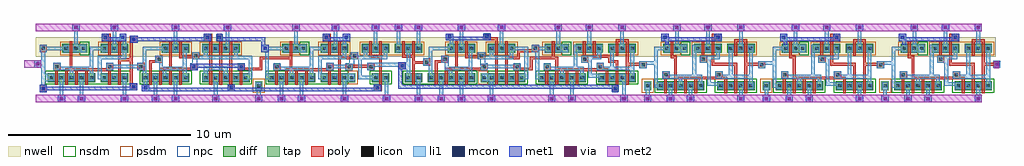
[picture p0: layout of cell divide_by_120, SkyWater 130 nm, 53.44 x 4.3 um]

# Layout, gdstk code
import gdstk
lib = gdstk.Library(unit=1e-6, precision=1e-09)
def R(c, l, rs):  # rectangles x0, y0, x1, y1
    for r in rs: c.add(gdstk.rectangle(r[:2], r[2:], *l))
def A(c, l, x, y, w, h, nx, ny, dx, dy):  # array of equal rectangles
    R(c, l, [(x+i*dx, y+j*dy, x+i*dx+w, y+j*dy+h) for i in range(nx) for j in range(ny)])
nwell = (64, 20)
diff = (65, 20)
tap = (65, 44)
poly = (66, 20)
licon = (66, 44)
li1 = (67, 20)
mcon = (67, 44)
met1 = (68, 20)
via = (68, 44)
met2 = (69, 20)
nsdm = (93, 44)
psdm = (94, 20)
npc = (95, 20)

divide_by_120 = lib.new_cell('divide_by_120')
R(divide_by_120, nwell, [(211.3,16.95,263.85,18)])
A(divide_by_120, diff, 245.3, 15.1, 2.6, 0.5, 3, 1, 6.5, 0)
A(divide_by_120, diff, 248.6, 15.1, 2.05, 0.5, 3, 1, 6.5, 0)
A(divide_by_120, diff, 239.15, 17.15, 0.95, 0.5, 4, 1, 6.5, 0)
R(divide_by_120, diff, [(211.95,15.55,214.55,16.05), (214.85,15.55,216.35,16.05), (217.1,15.55,219.7,16.05), (220.4,15.55,223,16.05), (224,15.55,226.6,16.05), (226.9,15.55,228.4,16.05), (229.7,15.55,230.65,16.05), (231.5,15.55,232.45,16.05), (232.75,15.55,235.35,16.05), (236.05,15.55,238.1,16.05), (238.8,15.55,241.4,16.05), (242.1,15.55,244.15,16.05), (212.75,17.15,213.7,17.65), (214.85,17.15,216.35,17.65), (218.2,17.15,219.7,17.65), (220.4,17.15,222.45,17.65), (224.8,17.15,225.75,17.65), (226.9,17.15,228.4,17.65), (229.15,17.15,230.65,17.65), (230.95,17.15,232.45,17.65), (233.85,17.15,235.35,17.65), (236.05,17.15,237.55,17.65), (240.85,17.15,242.35,17.65), (242.65,17.15,244.15,17.65), (247.35,17.15,248.85,17.65), (249.15,17.15,250.65,17.65), (253.85,17.15,255.35,17.65), (255.65,17.15,257.15,17.65), (260.35,17.15,261.85,17.65), (262.15,17.15,263.65,17.65)])
A(divide_by_120, tap, 244.6, 15.1, 0.4, 0.5, 3, 1, 6.5, 0)
A(divide_by_120, tap, 240.1, 17.15, 0.4, 0.5, 4, 1, 6.5, 0)
R(divide_by_120, tap, [(223.3,15.1,223.7,15.6), (228.4,15.55,228.8,16.05), (235.65,15.55,236.05,16.05), (213.7,17.15,214.1,17.65), (225.75,17.15,226.15,17.65)])
A(divide_by_120, poly, 245.7, 14.95, 0.15, 0.8, 3, 1, 6.5, 0)
A(divide_by_120, poly, 246.25, 14.95, 0.15, 0.75, 3, 1, 0.55, 0)
A(divide_by_120, poly, 252.75, 14.95, 0.15, 0.75, 3, 1, 0.55, 0)
A(divide_by_120, poly, 259.25, 14.95, 0.15, 0.75, 3, 1, 0.55, 0)
A(divide_by_120, poly, 212.9, 15.4, 0.15, 0.75, 3, 1, 0.55, 0)
A(divide_by_120, poly, 218.05, 15.4, 0.15, 0.8, 3, 1, 0.55, 0)
A(divide_by_120, poly, 220.8, 15.4, 0.15, 2.4, 3, 1, 0.55, 0)
A(divide_by_120, poly, 224.95, 15.4, 0.15, 0.75, 3, 1, 0.55, 0)
A(divide_by_120, poly, 233.7, 15.4, 0.15, 0.8, 3, 1, 0.55, 0)
A(divide_by_120, poly, 239.75, 15.4, 0.15, 0.75, 3, 1, 0.55, 0)
A(divide_by_120, poly, 246.25, 15.7, 2.9, 0.15, 3, 1, 6.5, 0)
A(divide_by_120, poly, 245.6, 15.75, 0.4, 0.4, 3, 1, 6.5, 0)
A(divide_by_120, poly, 246.25, 15.85, 0.15, 1, 3, 1, 6.5, 0)
A(divide_by_120, poly, 248.5, 15.85, 0.4, 0.3, 3, 1, 6.5, 0)
A(divide_by_120, poly, 244.35, 16.3, 0.4, 0.15, 3, 1, 6.5, 0)
A(divide_by_120, poly, 243.6, 16.45, 1.15, 0.15, 3, 1, 6.5, 0)
A(divide_by_120, poly, 248.3, 16.45, 1.4, 0.15, 3, 1, 6.5, 0)
A(divide_by_120, poly, 241.15, 16.6, 0.4, 0.4, 4, 1, 6.5, 0)
A(divide_by_120, poly, 243.6, 16.6, 0.15, 1.15, 4, 1, 6.5, 0)
A(divide_by_120, poly, 244.35, 16.6, 0.4, 0.1, 3, 1, 6.5, 0)
A(divide_by_120, poly, 248.3, 16.6, 0.15, 1.2, 3, 1, 6.5, 0)
A(divide_by_120, poly, 246.05, 16.85, 0.35, 0.15, 3, 1, 6.5, 0)
A(divide_by_120, poly, 243.05, 17, 0.15, 0.75, 4, 1, 6.5, 0)
A(divide_by_120, poly, 243.05, 17.75, 0.7, 0.15, 4, 1, 6.5, 0)
A(divide_by_120, poly, 248.3, 17.8, 0.55, 0.4, 3, 1, 6.5, 0)
R(divide_by_120, poly, [(249,14.95,249.15,15.7), (249.55,14.95,249.7,16.45), (250.1,14.95,250.25,16.45), (255.5,14.95,255.65,15.7), (256.05,14.95,256.2,16.45), (256.6,14.95,256.75,16.45), (262,14.95,262.15,15.7), (262.55,14.95,262.7,16.45), (263.1,14.95,263.25,16.45), (211.5,15,211.9,15.4), (242.87,15,243.2,15.4), (221.8,15.05,222.2,15.4), (229.8,15.05,230.25,15.4), (216.45,15.1,216.85,15.5), (212.35,15.4,212.5,16.2), (215.25,15.4,215.4,16.15), (215.8,15.4,215.95,16.7), (217.5,15.4,217.65,16.6), (222.45,15.4,222.6,16.2), (224.4,15.4,224.55,16.2), (227.3,15.4,227.45,16.15), (227.85,15.4,228,16.8), (230.1,15.4,230.25,16.9), (231.9,15.4,232.05,16.55), (233.15,15.4,233.3,16.6), (236.45,15.4,236.6,17.85), (237,15.4,237.15,16.8), (237.55,15.4,237.7,16.2), (239.2,15.4,239.35,16.2), (242.5,15.4,242.65,16.15), (243.05,15.4,243.2,16.6), (243.6,15.4,243.75,16.45), (216.45,15.5,216.6,16.7), (212.9,16.15,215.4,16.2), (224.95,16.15,227.45,16.2), (239.75,16.15,242.65,16.3), (212.25,16.2,212.65,16.6), (212.9,16.2,215.55,16.3), (216.85,16.2,217.25,16.6), (218.05,16.2,220.15,16.35), (222.35,16.2,223.7,16.35), (224.3,16.2,224.7,16.55), (224.95,16.2,227.6,16.3), (228.25,16.2,228.65,16.35), (229.45,16.2,229.85,16.35), (233.7,16.2,236.05,16.35), (237.45,16.2,238.5,16.35), (239.1,16.2,239.5,16.55), (231.15,16.25,231.55,16.65), (213.15,16.3,213.3,17.8), (215.15,16.3,215.55,16.6), (225.2,16.3,225.35,16.8), (227.2,16.3,227.6,16.6), (239.75,16.3,239.9,16.8), (242,16.3,242.4,16.6), (263.76,16.3,264.05,16.45), (218.6,16.35,218.75,17.8), (219.75,16.35,220.15,16.55), (222.35,16.35,222.75,16.55), (223.55,16.35,223.7,16.8), (228.25,16.35,229.85,16.5), (234.25,16.35,234.4,17.8), (235.65,16.35,236.05,16.55), (237.45,16.35,237.85,16.55), (238.35,16.35,238.5,16.8), (232.5,16.45,232.9,16.55), (263.1,16.45,264.05,16.6), (228.25,16.5,228.65,16.55), (229.45,16.5,229.85,16.6), (231.9,16.55,232.9,16.7), (217.5,16.6,218.25,16.75), (233.15,16.6,233.9,16.75), (242.65,16.6,243.2,16.75), (263.76,16.6,264.05,16.7), (215.8,16.7,216.6,16.85), (231.9,16.7,232.05,16.9), (232.5,16.7,232.9,16.85), (217.85,16.75,218.25,17), (233.5,16.75,233.9,17), (242.65,16.75,242.8,16.9), (219.85,16.8,220.25,16.85), (223.55,16.8,225.35,16.95), (227.85,16.8,228.95,16.95), (235.5,16.8,235.9,16.85), (237,16.8,237.8,16.95), (238.35,16.8,239.9,16.95), (215.8,16.85,215.95,17.8), (216.45,16.85,216.6,17.7), (219.15,16.85,220.25,17), (234.8,16.85,235.9,17), (229.55,16.9,230.25,17.05), (231.35,16.9,232.05,17.05), (241.8,16.9,242.8,17.05), (225.2,16.95,225.35,17.8), (227.85,16.95,228,17.8), (228.55,16.95,228.95,17.2), (237,16.95,237.15,17.8), (237.65,16.95,237.8,17.2), (239.55,16.95,239.7,17.8), (215.25,17,215.4,17.8), (219.15,17,219.3,17.8), (219.85,17,220.25,17.2), (227.3,17,227.45,17.8), (234.8,17,234.95,17.8), (235.5,17,235.9,17.2), (241.25,17,241.4,17.8), (246.05,17,246.2,17.8), (247.75,17,247.9,17.8), (252.55,17,252.7,17.8), (254.25,17,254.4,17.8), (259.05,17,259.2,17.8), (260.75,17,260.9,17.8), (229.55,17.05,229.7,17.8), (230.1,17.05,230.25,17.8), (231.35,17.05,231.5,17.8), (231.9,17.05,232.05,17.8), (241.8,17.05,241.95,17.8), (211.5,17.2,211.9,17.6), (237.65,17.2,238.85,17.35), (238.45,17.35,238.85,17.6), (216.45,17.7,216.87,18.1), (214.9,17.8,215.4,18.2), (220.5,17.8,220.95,18.2), (221.2,17.8,221.5,18.2), (227,17.8,227.45,18.2), (235.8,17.85,236.6,18), (235.8,18,236.2,18.2)])
A(divide_by_120, licon, 245.415, 15.265, 0.17, 0.17, 5, 1, 0.55, 0)
A(divide_by_120, licon, 248.715, 15.265, 0.17, 0.17, 4, 1, 0.55, 0)
A(divide_by_120, licon, 251.915, 15.265, 0.17, 0.17, 5, 1, 0.55, 0)
A(divide_by_120, licon, 255.215, 15.265, 0.17, 0.17, 4, 1, 0.55, 0)
A(divide_by_120, licon, 258.415, 15.265, 0.17, 0.17, 5, 1, 0.55, 0)
A(divide_by_120, licon, 261.715, 15.265, 0.17, 0.17, 4, 1, 0.55, 0)
A(divide_by_120, licon, 212.065, 15.715, 0.17, 0.17, 5, 1, 0.55, 0)
A(divide_by_120, licon, 214.965, 15.715, 0.17, 0.17, 3, 2, 0.55, 1.6)
A(divide_by_120, licon, 217.215, 15.715, 0.17, 0.17, 5, 1, 0.55, 0)
A(divide_by_120, licon, 220.515, 15.715, 0.17, 0.17, 5, 1, 0.55, 0)
A(divide_by_120, licon, 224.115, 15.715, 0.17, 0.17, 5, 1, 0.55, 0)
A(divide_by_120, licon, 227.015, 15.715, 0.17, 0.17, 3, 2, 0.55, 1.6)
A(divide_by_120, licon, 232.865, 15.715, 0.17, 0.17, 5, 1, 0.55, 0)
A(divide_by_120, licon, 236.165, 15.715, 0.17, 0.17, 4, 1, 0.55, 0)
A(divide_by_120, licon, 238.915, 15.715, 0.17, 0.17, 5, 1, 0.55, 0)
A(divide_by_120, licon, 242.215, 15.715, 0.17, 0.17, 4, 1, 0.55, 0)
A(divide_by_120, licon, 244.465, 16.415, 0.17, 0.17, 3, 1, 6.5, 0)
A(divide_by_120, licon, 241.265, 16.715, 0.17, 0.17, 4, 1, 6.5, 0)
A(divide_by_120, licon, 218.315, 17.315, 0.17, 0.17, 3, 1, 0.55, 0)
A(divide_by_120, licon, 220.515, 17.315, 0.17, 0.17, 4, 1, 0.55, 0)
A(divide_by_120, licon, 229.265, 17.315, 0.17, 0.17, 3, 1, 0.55, 0)
A(divide_by_120, licon, 231.065, 17.315, 0.17, 0.17, 3, 1, 0.55, 0)
A(divide_by_120, licon, 233.965, 17.315, 0.17, 0.17, 3, 1, 0.55, 0)
A(divide_by_120, licon, 236.165, 17.315, 0.17, 0.17, 3, 1, 0.55, 0)
A(divide_by_120, licon, 240.965, 17.315, 0.17, 0.17, 3, 1, 0.55, 0)
A(divide_by_120, licon, 242.765, 17.315, 0.17, 0.17, 3, 1, 0.55, 0)
A(divide_by_120, licon, 247.465, 17.315, 0.17, 0.17, 3, 1, 0.55, 0)
A(divide_by_120, licon, 249.265, 17.315, 0.17, 0.17, 3, 1, 0.55, 0)
A(divide_by_120, licon, 253.965, 17.315, 0.17, 0.17, 3, 1, 0.55, 0)
A(divide_by_120, licon, 255.765, 17.315, 0.17, 0.17, 3, 1, 0.55, 0)
A(divide_by_120, licon, 260.465, 17.315, 0.17, 0.17, 3, 1, 0.55, 0)
A(divide_by_120, licon, 262.265, 17.315, 0.17, 0.17, 3, 1, 0.55, 0)
A(divide_by_120, licon, 248.565, 17.915, 0.17, 0.17, 3, 1, 6.5, 0)
R(divide_by_120, licon, [(211.615,15.115,211.785,15.285), (242.935,15.115,243.105,15.285), (221.915,15.165,222.085,15.335), (229.915,15.165,230.085,15.335), (216.565,15.215,216.735,15.385), (223.415,15.265,223.585,15.435), (244.715,15.265,244.885,15.435), (251.215,15.265,251.385,15.435), (257.715,15.265,257.885,15.435), (228.515,15.715,228.685,15.885), (229.815,15.715,229.985,15.885), (230.365,15.715,230.535,15.885), (231.615,15.715,231.785,15.885), (232.165,15.715,232.335,15.885), (235.765,15.715,235.935,15.885), (245.715,15.865,245.885,16.035), (248.615,15.865,248.785,16.035), (252.215,15.865,252.385,16.035), (255.115,15.865,255.285,16.035), (258.715,15.865,258.885,16.035), (261.615,15.865,261.785,16.035), (212.365,16.315,212.535,16.485), (215.265,16.315,215.435,16.485), (216.965,16.315,217.135,16.485), (219.865,16.315,220.035,16.485), (222.465,16.315,222.635,16.485), (224.415,16.315,224.585,16.485), (227.315,16.315,227.485,16.485), (228.365,16.315,228.535,16.485), (229.565,16.315,229.735,16.485), (235.765,16.315,235.935,16.485), (237.565,16.315,237.735,16.485), (239.215,16.315,239.385,16.485), (242.115,16.315,242.285,16.485), (231.265,16.365,231.435,16.535), (263.82,16.44,263.99,16.61), (232.615,16.565,232.785,16.735), (217.965,16.715,218.135,16.885), (233.615,16.715,233.785,16.885), (219.965,16.915,220.135,17.085), (228.665,16.915,228.835,17.085), (235.615,16.915,235.785,17.085), (211.615,17.315,211.785,17.485), (212.865,17.315,213.035,17.485), (213.415,17.315,213.585,17.485), (213.815,17.315,213.985,17.485), (224.915,17.315,225.085,17.485), (225.465,17.315,225.635,17.485), (225.865,17.315,226.035,17.485), (238.565,17.315,238.735,17.485), (239.265,17.315,239.435,17.485), (239.815,17.315,239.985,17.485), (240.215,17.315,240.385,17.485), (245.765,17.315,245.935,17.485), (246.315,17.315,246.485,17.485), (246.715,17.315,246.885,17.485), (252.265,17.315,252.435,17.485), (252.815,17.315,252.985,17.485), (253.215,17.315,253.385,17.485), (258.765,17.315,258.935,17.485), (259.315,17.315,259.485,17.485), (259.715,17.315,259.885,17.485), (216.585,17.815,216.755,17.985), (215.015,17.915,215.185,18.085), (220.615,17.915,220.785,18.085), (221.265,17.915,221.435,18.085), (227.115,17.915,227.285,18.085), (235.915,17.965,236.085,18.135)])
A(divide_by_120, li1, 245.35, 15.15, 0.3, 0.1, 3, 1, 6.5, 0)
A(divide_by_120, li1, 245.9, 15.15, 0.3, 0.4, 4, 1, 0.55, 0)
A(divide_by_120, li1, 248.65, 15.15, 0.3, 0.2, 3, 1, 6.5, 0)
A(divide_by_120, li1, 249.2, 15.15, 0.3, 0.4, 3, 2, 0.55, 2.05)
A(divide_by_120, li1, 252.4, 15.15, 0.3, 0.4, 4, 1, 0.55, 0)
A(divide_by_120, li1, 255.7, 15.15, 0.3, 0.4, 3, 2, 0.55, 2.05)
A(divide_by_120, li1, 258.9, 15.15, 0.3, 0.4, 4, 1, 0.55, 0)
A(divide_by_120, li1, 262.2, 15.15, 0.3, 0.4, 3, 2, 0.55, 2.05)
A(divide_by_120, li1, 245.15, 15.25, 0.5, 0.3, 3, 1, 6.5, 0)
A(divide_by_120, li1, 248.05, 15.35, 0.9, 0.2, 3, 1, 6.5, 0)
A(divide_by_120, li1, 245.15, 15.55, 0.2, 0.95, 3, 1, 6.5, 0)
A(divide_by_120, li1, 248.05, 15.55, 0.2, 1.05, 3, 1, 6.5, 0)
A(divide_by_120, li1, 212.55, 15.6, 0.3, 0.4, 4, 1, 0.55, 0)
A(divide_by_120, li1, 217.15, 15.6, 0.3, 0.4, 5, 1, 0.55, 0)
A(divide_by_120, li1, 220.45, 15.6, 0.3, 0.4, 4, 1, 0.55, 0)
A(divide_by_120, li1, 224.6, 15.6, 0.3, 0.4, 4, 1, 0.55, 0)
A(divide_by_120, li1, 232.8, 15.6, 0.3, 0.4, 5, 1, 0.55, 0)
A(divide_by_120, li1, 239.4, 15.6, 0.3, 0.4, 4, 1, 0.55, 0)
A(divide_by_120, li1, 245.6, 15.75, 2.2, 0.2, 3, 1, 6.5, 0)
A(divide_by_120, li1, 248.5, 15.75, 2.05, 0.2, 3, 1, 6.5, 0)
A(divide_by_120, li1, 217.15, 16, 0.2, 0.2, 3, 1, 1.1, 0)
A(divide_by_120, li1, 244.35, 16.3, 0.4, 0.2, 3, 1, 6.5, 0)
A(divide_by_120, li1, 244.35, 16.5, 1, 0.2, 3, 1, 6.5, 0)
A(divide_by_120, li1, 241.15, 16.6, 0.6, 0.2, 4, 1, 6.5, 0)
A(divide_by_120, li1, 245.15, 16.7, 0.2, 0.6, 3, 1, 6.5, 0)
A(divide_by_120, li1, 241.15, 16.8, 1.1, 0.2, 4, 1, 6.5, 0)
A(divide_by_120, li1, 242.05, 17, 0.2, 0.2, 4, 1, 6.5, 0)
A(divide_by_120, li1, 229.2, 17.2, 0.3, 0.4, 3, 1, 0.55, 0)
A(divide_by_120, li1, 231, 17.2, 0.3, 0.4, 3, 1, 0.55, 0)
A(divide_by_120, li1, 239.2, 17.2, 0.3, 0.1, 4, 2, 6.5, 0.3)
A(divide_by_120, li1, 239.75, 17.2, 0.7, 0.4, 4, 1, 6.5, 0)
A(divide_by_120, li1, 240.75, 17.2, 0.45, 0.4, 4, 1, 6.5, 0)
A(divide_by_120, li1, 242.7, 17.2, 0.3, 0.4, 3, 1, 0.55, 0)
A(divide_by_120, li1, 245.15, 17.3, 0.85, 0.2, 3, 1, 6.5, 0)
A(divide_by_120, li1, 245.75, 17.6, 0.2, 0.2, 3, 1, 6.5, 0)
R(divide_by_120, li1, [(212.5,14.45,212.9,14.85), (213.6,14.45,214,14.85), (215.95,14.45,216.35,14.85), (217.65,14.45,218.05,14.85), (218.75,14.45,219.15,14.85), (220.95,14.45,221.35,14.85), (223.3,14.45,223.7,14.85), (224.55,14.45,224.95,14.85), (225.65,14.45,226.05,14.85), (228,14.45,228.4,14.85), (230.3,14.45,230.7,14.85), (232.05,14.45,232.45,14.85), (233.3,14.45,233.7,14.85), (234.4,14.45,234.8,14.85), (236.05,14.45,236.45,14.85), (239.35,14.45,239.75,14.85), (240.45,14.45,240.85,14.85), (243.3,14.45,243.7,14.85), (244.6,14.45,245,14.85), (245.85,14.45,246.25,14.85), (246.95,14.45,247.35,14.85), (249.7,14.45,250.1,14.85), (251.1,14.45,251.5,14.85), (252.35,14.45,252.75,14.85), (253.45,14.45,253.85,14.85), (256.2,14.45,256.6,14.85), (257.6,14.45,258,14.85), (258.85,14.45,259.25,14.85), (259.95,14.45,260.35,14.85), (262.7,14.45,263.1,14.85), (212.6,14.85,212.8,15.6), (213.7,14.85,213.9,15.6), (216.05,14.85,216.25,15.6), (217.75,14.85,217.95,15.6), (218.85,14.85,219.05,15.6), (221.05,14.85,221.25,15.6), (223.4,14.85,223.6,15.15), (224.65,14.85,224.85,15.6), (225.75,14.85,225.95,15.6), (228.1,14.85,228.3,15.6), (230.4,14.85,230.6,15.6), (232.15,14.85,232.35,15.6), (233.4,14.85,233.6,15.6), (234.5,14.85,234.7,15.6), (236.15,14.85,236.35,15.6), (239.45,14.85,239.65,15.6), (240.55,14.85,240.75,15.6), (243.4,14.85,243.6,15.6), (244.7,14.85,244.9,15.15), (245.95,14.85,246.15,15.15), (247.05,14.85,247.25,15.15), (249.8,14.85,250,15.15), (251.2,14.85,251.4,15.15), (252.45,14.85,252.65,15.15), (253.55,14.85,253.75,15.15), (256.3,14.85,256.5,15.15), (257.7,14.85,257.9,15.15), (258.95,14.85,259.15,15.15), (260.05,14.85,260.25,15.15), (262.8,14.85,263,15.15), (211.5,15,211.9,15.4), (242.87,15,243.2,15.4), (217.1,15.05,217.5,15.4), (221.8,15.05,222.2,15.4), (229.8,15.05,230.2,15.4), (216.45,15.1,216.85,15.5), (223.35,15.15,223.65,15.55), (244.65,15.15,244.95,15.55), (251.15,15.15,251.45,15.55), (257.65,15.15,257.95,15.55), (211.6,15.4,211.8,15.6), (217.2,15.4,217.4,15.6), (246.5,15.55,246.7,15.75), (247.6,15.55,247.8,15.75), (250.35,15.55,250.55,15.75), (253,15.55,253.2,15.75), (254.1,15.55,254.3,15.75), (256.85,15.55,257.05,15.75), (259.5,15.55,259.7,15.75), (260.6,15.55,260.8,15.75), (263.35,15.55,263.55,15.75), (211.6,15.6,212.3,16), (214.9,15.6,215.2,15.7), (215.45,15.6,215.75,16), (216,15.6,216.3,16), (222.65,15.6,222.95,15.7), (224.05,15.6,224.35,15.7), (226.95,15.6,227.25,15.7), (227.5,15.6,227.8,16), (228.05,15.6,228.75,16), (229.75,15.6,230.05,15.7), (230.3,15.6,230.6,16), (231.55,15.6,231.85,16), (232.1,15.6,232.4,16), (235.7,15.6,236.4,16), (236.65,15.6,236.95,16), (237.2,15.6,237.5,16), (237.75,15.6,238.05,15.7), (238.85,15.6,239.15,15.7), (242.15,15.6,242.45,15.8), (242.7,15.6,243,16), (243.25,15.6,243.6,16), (243.8,15.6,244.1,16), (214.7,15.7,215.2,16), (222.65,15.7,223.15,16), (223.85,15.7,224.35,16), (226.75,15.7,227.25,16), (228.95,15.7,230.05,15.9), (237.75,15.7,238.25,16), (238.65,15.7,239.15,16), (241.55,15.8,242.45,16), (228.95,15.9,229.15,16.8), (229.75,15.9,230.05,16), (245.6,15.95,246,16.15), (247.25,15.95,247.45,17.2), (248.5,15.95,248.9,16.15), (249.25,15.95,249.45,17.2), (250.35,15.95,250.55,17.2), (252.1,15.95,252.5,16.15), (253.75,15.95,253.95,17.2), (255,15.95,255.4,16.15), (255.75,15.95,255.95,17.2), (256.85,15.95,257.05,17.2), (258.6,15.95,259,16.15), (260.25,15.95,260.45,17.2), (261.5,15.95,261.9,16.15), (262.25,15.95,262.45,17.2), (263.35,15.95,263.55,17.2), (211.6,16,211.8,16.35), (213.15,16,213.35,16.2), (214.25,16,214.45,16.2), (214.7,16,214.9,16.8), (220.5,16,220.7,16.2), (221.6,16,221.8,16.2), (222.95,16,223.15,16.8), (223.85,16,224.05,17.2), (225.2,16,225.4,16.2), (226.3,16,226.5,16.2), (226.75,16,226.95,16.8), (231.6,16,231.8,16.25), (232.8,16,233,16.45), (233.9,16,234.1,16.2), (235,16,235.2,16.2), (238.05,16,238.25,17.3), (238.65,16,238.85,17.2), (240,16,240.2,16.2), (241.1,16,241.3,16.2), (241.55,16,241.75,16.6), (243.85,16,244.05,16.2), (212.25,16.2,214.45,16.4), (215.15,16.2,215.55,16.3), (216.85,16.2,217.35,16.3), (218.05,16.2,219.55,16.4), (219.75,16.2,220.15,16.55), (220.5,16.2,221.8,16.4), (222.35,16.2,222.75,16.55), (224.3,16.2,226.5,16.4), (227.2,16.2,227.6,16.3), (228.25,16.2,228.65,16.3), (229.45,16.2,229.85,16.4), (233.7,16.2,235.2,16.4), (235.65,16.2,236.05,16.3), (237.45,16.2,237.85,16.3), (239.1,16.2,241.3,16.4), (242,16.2,244.05,16.4), (231.15,16.25,231.8,16.4), (215.15,16.3,217.35,16.5), (227.2,16.3,228.65,16.5), (235.65,16.3,237.85,16.5), (263.76,16.3,264.05,16.7), (211.2,16.35,211.8,16.75), (212.25,16.4,212.65,16.6), (214.25,16.4,214.45,17.3), (218.05,16.4,218.25,16.6), (219.35,16.4,219.55,17.2), (224.3,16.4,224.7,16.55), (226.3,16.4,226.5,17.3), (229.45,16.4,231.8,16.6), (233.7,16.4,233.9,16.6), (235,16.4,235.2,17.2), (239.1,16.4,239.5,16.55), (240.75,16.4,240.95,17.2), (242,16.4,242.4,16.6), (242.75,16.4,242.95,17.2), (243.85,16.4,244.05,17.2), (232.5,16.45,233,16.85), (215.15,16.5,215.55,16.6), (216.85,16.5,217.35,16.6), (227.2,16.5,227.6,16.6), (228.25,16.5,228.65,16.55), (235.65,16.5,236.05,16.55), (237.45,16.5,237.85,16.55), (217.15,16.6,217.35,17.3), (217.85,16.6,218.25,17), (231.15,16.6,231.8,16.65), (233.5,16.6,233.9,17), (231.6,16.65,231.8,17.2), (211.6,16.75,211.8,17.2), (214.7,16.8,216.25,17), (219.85,16.8,223.15,17), (226.75,16.8,228.3,17), (228.55,16.8,230.55,17), (235.5,16.8,237.45,17), (232.8,16.85,233,17.3), (216.05,17,216.25,17.2), (219.85,17,220.25,17.2), (220.5,17,220.7,17.2), (222.15,17,222.35,17.2), (228.1,17,228.3,17.2), (228.55,17,228.95,17.2), (229.25,17,229.45,17.2), (230.35,17,230.55,17.2), (235.5,17,235.9,17.2), (236.15,17,236.35,17.2), (237.25,17,237.45,17.2), (211.5,17.2,211.9,17.3), (212.8,17.2,213.1,17.3), (213.35,17.2,214.05,17.6), (214.9,17.2,215.2,17.3), (215.45,17.2,215.75,17.6), (216,17.2,216.3,17.6), (218.25,17.2,218.55,17.3), (218.8,17.2,219.1,17.6), (219.35,17.2,219.65,17.6), (220.45,17.2,220.75,17.6), (221,17.2,221.3,17.6), (221.55,17.2,221.9,17.6), (222.1,17.2,222.4,17.6), (223.65,17.2,224.05,17.3), (224.85,17.2,225.15,17.3), (225.4,17.2,226.1,17.6), (226.95,17.2,227.25,17.3), (227.5,17.2,227.8,17.6), (228.05,17.2,228.35,17.6), (233.9,17.2,234.2,17.3), (234.45,17.2,234.75,17.6), (235,17.2,235.3,17.6), (236.1,17.2,236.4,17.6), (236.65,17.2,236.95,17.6), (237.2,17.2,237.5,17.3), (238.45,17.2,238.85,17.3), (241.45,17.2,241.75,17.6), (242,17.2,242.3,17.6), (247.95,17.2,248.25,17.6), (248.5,17.2,248.8,17.6), (254.45,17.2,254.75,17.6), (255,17.2,255.3,17.6), (260.95,17.2,261.25,17.6), (261.5,17.2,261.8,17.6), (211.5,17.3,213.1,17.5), (214.25,17.3,215.2,17.5), (217.15,17.3,218.55,17.5), (223.65,17.3,225.15,17.5), (226.3,17.3,227.25,17.5), (232.8,17.3,234.2,17.5), (237.2,17.3,238.25,17.5), (238.45,17.3,239.5,17.5), (211.5,17.5,211.9,17.6), (212.8,17.5,213.1,17.6), (214.9,17.5,215.2,17.6), (218.25,17.5,218.55,17.6), (223.65,17.5,224.05,17.6), (224.85,17.5,225.15,17.6), (226.95,17.5,227.25,17.6), (233.9,17.5,234.2,17.6), (237.2,17.5,237.5,17.6), (238.45,17.5,238.85,17.6), (213.4,17.6,213.6,18.35), (215.5,17.6,215.7,18.35), (216.05,17.6,216.25,17.8), (218.85,17.6,219.05,18.35), (221.7,17.6,221.9,18.35), (225.45,17.6,225.65,18.35), (227.6,17.6,227.8,18.35), (228.1,17.6,228.3,17.8), (229.8,17.6,230,18.35), (231.05,17.6,231.25,18.35), (232.15,17.6,232.35,18.35), (233.95,17.6,234.15,17.85), (234.5,17.6,234.7,18.35), (236.7,17.6,236.9,18.35), (239.8,17.6,240,18.35), (241.5,17.6,241.7,18.35), (243.3,17.6,243.5,18.35), (246.3,17.6,246.5,18.35), (248,17.6,248.2,18.35), (249.8,17.6,250,18.35), (252.8,17.6,253,18.35), (254.5,17.6,254.7,18.35), (256.3,17.6,256.5,18.35), (259.3,17.6,259.5,18.35), (261,17.6,261.2,18.35), (262.8,17.6,263,18.35), (216.47,17.7,216.87,18.1), (214.9,17.8,215.3,18.2), (215.9,17.8,216.25,18.2), (220.5,17.8,220.9,18.2), (221.2,17.8,221.5,18.2), (227,17.8,227.4,18.2), (228.1,17.8,228.5,18.2), (245.55,17.8,245.95,18.2), (248.45,17.8,248.85,18.2), (252.05,17.8,252.45,18.2), (254.95,17.8,255.35,18.2), (258.55,17.8,258.95,18.2), (261.45,17.8,261.85,18.2), (233.75,17.85,234.15,18.2), (235.8,17.85,236.2,18.2), (213.3,18.35,213.7,18.75), (215.4,18.35,215.8,18.75), (218.75,18.35,219.15,18.75), (221.6,18.35,222,18.75), (225.35,18.35,225.75,18.75), (227.5,18.35,227.9,18.75), (229.7,18.35,230.1,18.75), (230.95,18.35,231.35,18.75), (232.05,18.35,232.45,18.75), (234.4,18.35,234.8,18.75), (236.6,18.35,237,18.75), (239.7,18.35,240.1,18.75), (241.4,18.35,241.8,18.75), (243.2,18.35,243.6,18.75), (246.2,18.35,246.6,18.75), (247.9,18.35,248.3,18.75), (249.7,18.35,250.1,18.75), (252.7,18.35,253.1,18.75), (254.4,18.35,254.8,18.75), (256.2,18.35,256.6,18.75), (259.2,18.35,259.6,18.75), (260.9,18.35,261.3,18.75), (262.7,18.35,263.1,18.75)])
R(divide_by_120, mcon, [(212.615,14.565,212.785,14.735), (213.715,14.565,213.885,14.735), (216.065,14.565,216.235,14.735), (217.765,14.565,217.935,14.735), (218.865,14.565,219.035,14.735), (221.065,14.565,221.235,14.735), (223.415,14.565,223.585,14.735), (224.665,14.565,224.835,14.735), (225.765,14.565,225.935,14.735), (228.115,14.565,228.285,14.735), (230.415,14.565,230.585,14.735), (232.165,14.565,232.335,14.735), (233.415,14.565,233.585,14.735), (234.515,14.565,234.685,14.735), (236.165,14.565,236.335,14.735), (239.465,14.565,239.635,14.735), (240.565,14.565,240.735,14.735), (243.415,14.565,243.585,14.735), (244.715,14.565,244.885,14.735), (245.965,14.565,246.135,14.735), (247.065,14.565,247.235,14.735), (249.815,14.565,249.985,14.735), (251.215,14.565,251.385,14.735), (252.465,14.565,252.635,14.735), (253.565,14.565,253.735,14.735), (256.315,14.565,256.485,14.735), (257.715,14.565,257.885,14.735), (258.965,14.565,259.135,14.735), (260.065,14.565,260.235,14.735), (262.815,14.565,262.985,14.735), (211.615,15.115,211.785,15.285), (242.935,15.115,243.105,15.285), (217.215,15.165,217.385,15.335), (221.915,15.165,222.085,15.335), (229.915,15.165,230.085,15.335), (216.565,15.215,216.735,15.385), (219.865,16.315,220.035,16.485), (222.465,16.315,222.635,16.485), (231.265,16.365,231.435,16.535), (263.82,16.44,263.99,16.61), (211.315,16.465,211.485,16.635), (223.765,17.315,223.935,17.485), (216.585,17.815,216.755,17.985), (215.015,17.915,215.185,18.085), (215.965,17.915,216.135,18.085), (220.615,17.915,220.785,18.085), (221.265,17.915,221.435,18.085), (227.115,17.915,227.285,18.085), (228.215,17.915,228.385,18.085), (245.665,17.915,245.835,18.085), (248.565,17.915,248.735,18.085), (252.165,17.915,252.335,18.085), (255.065,17.915,255.235,18.085), (258.665,17.915,258.835,18.085), (261.565,17.915,261.735,18.085), (233.865,17.965,234.035,18.135), (235.915,17.965,236.085,18.135), (213.415,18.465,213.585,18.635), (215.515,18.465,215.685,18.635), (218.865,18.465,219.035,18.635), (221.715,18.465,221.885,18.635), (225.465,18.465,225.635,18.635), (227.615,18.465,227.785,18.635), (229.815,18.465,229.985,18.635), (231.065,18.465,231.235,18.635), (232.165,18.465,232.335,18.635), (234.515,18.465,234.685,18.635), (236.715,18.465,236.885,18.635), (239.815,18.465,239.985,18.635), (241.515,18.465,241.685,18.635), (243.315,18.465,243.485,18.635), (246.315,18.465,246.485,18.635), (248.015,18.465,248.185,18.635), (249.815,18.465,249.985,18.635), (252.815,18.465,252.985,18.635), (254.515,18.465,254.685,18.635), (256.315,18.465,256.485,18.635), (259.315,18.465,259.485,18.635), (261.015,18.465,261.185,18.635), (262.815,18.465,262.985,18.635)])
A(divide_by_120, met1, 245.75, 17.6, 0.2, 0.2, 3, 1, 6.5, 0)
A(divide_by_120, met1, 245.55, 17.8, 3.3, 0.2, 3, 1, 6.5, 0)
R(divide_by_120, met1, [(212.5,14.45,212.9,14.85), (213.6,14.45,214,14.85), (215.95,14.45,216.35,14.85), (217.65,14.45,218.05,14.85), (218.75,14.45,219.15,14.85), (220.95,14.45,221.35,14.85), (223.3,14.45,223.7,14.85), (224.55,14.45,224.95,14.85), (225.65,14.45,226.05,14.85), (228,14.45,228.4,14.85), (230.3,14.45,230.7,14.85), (232.05,14.45,232.45,14.85), (233.3,14.45,233.7,14.85), (234.4,14.45,234.8,14.85), (236.05,14.45,236.45,14.85), (239.35,14.45,239.75,14.85), (240.45,14.45,240.85,14.85), (243.3,14.45,243.7,14.85), (244.6,14.45,245,14.85), (245.85,14.45,246.25,14.85), (246.95,14.45,247.35,14.85), (249.7,14.45,250.1,14.85), (251.1,14.45,251.5,14.85), (252.35,14.45,252.75,14.85), (253.45,14.45,253.85,14.85), (256.2,14.45,256.6,14.85), (257.6,14.45,258,14.85), (258.85,14.45,259.25,14.85), (259.95,14.45,260.35,14.85), (262.7,14.45,263.1,14.85), (211.5,15,211.9,15.1), (242.87,15,243.2,15.2), (217.1,15.05,230.2,15.25), (211.5,15.1,216.85,15.3), (231.15,15.2,243.2,15.4), (217.1,15.25,217.5,15.4), (221.8,15.25,222.2,15.4), (229.8,15.25,230.2,15.4), (211.5,15.3,211.9,15.4), (216.45,15.3,216.85,15.5), (231.15,15.4,231.35,16.25), (219.75,16.2,220.15,16.35), (222.35,16.2,222.75,16.35), (231.15,16.25,231.55,16.65), (263.76,16.3,264.05,16.7), (211.2,16.35,211.6,16.75), (219.75,16.35,222.75,16.55), (223.65,17.2,224.05,17.6), (223.65,17.6,223.85,17.8), (216.47,17.7,216.87,17.8), (214.9,17.8,216.25,18), (216.47,17.8,220.9,18), (221.2,17.8,223.85,18), (227,17.8,228.5,18), (233.75,17.85,236.2,18.05), (214.9,18,215.3,18.2), (215.9,18,216.25,18.2), (216.47,18,216.87,18.1), (220.5,18,220.9,18.2), (221.2,18,221.5,18.2), (227,18,227.4,18.2), (228.1,18,228.5,18.2), (245.55,18,245.95,18.2), (248.45,18,248.85,18.2), (252.05,18,252.45,18.2), (254.95,18,255.35,18.2), (258.55,18,258.95,18.2), (261.45,18,261.85,18.2), (233.75,18.05,234.15,18.2), (235.8,18.05,236.2,18.2), (213.3,18.35,213.7,18.75), (215.4,18.35,215.8,18.75), (218.75,18.35,219.15,18.75), (221.6,18.35,222,18.75), (225.35,18.35,225.75,18.75), (227.5,18.35,227.9,18.75), (229.7,18.35,230.1,18.75), (230.95,18.35,231.35,18.75), (232.05,18.35,232.45,18.75), (234.4,18.35,234.8,18.75), (236.6,18.35,237,18.75), (239.7,18.35,240.1,18.75), (241.4,18.35,241.8,18.75), (243.2,18.35,243.6,18.75), (246.2,18.35,246.6,18.75), (247.9,18.35,248.3,18.75), (249.7,18.35,250.1,18.75), (252.7,18.35,253.1,18.75), (254.4,18.35,254.8,18.75), (256.2,18.35,256.6,18.75), (259.2,18.35,259.6,18.75), (260.9,18.35,261.3,18.75), (262.7,18.35,263.1,18.75)])
R(divide_by_120, via, [(212.625,14.575,212.775,14.725), (213.725,14.575,213.875,14.725), (216.075,14.575,216.225,14.725), (217.775,14.575,217.925,14.725), (218.875,14.575,219.025,14.725), (221.075,14.575,221.225,14.725), (223.425,14.575,223.575,14.725), (224.675,14.575,224.825,14.725), (225.775,14.575,225.925,14.725), (228.125,14.575,228.275,14.725), (230.425,14.575,230.575,14.725), (232.175,14.575,232.325,14.725), (233.425,14.575,233.575,14.725), (234.525,14.575,234.675,14.725), (236.175,14.575,236.325,14.725), (239.475,14.575,239.625,14.725), (240.575,14.575,240.725,14.725), (243.425,14.575,243.575,14.725), (244.725,14.575,244.875,14.725), (245.975,14.575,246.125,14.725), (247.075,14.575,247.225,14.725), (249.825,14.575,249.975,14.725), (251.225,14.575,251.375,14.725), (252.475,14.575,252.625,14.725), (253.575,14.575,253.725,14.725), (256.325,14.575,256.475,14.725), (257.725,14.575,257.875,14.725), (258.975,14.575,259.125,14.725), (260.075,14.575,260.225,14.725), (262.825,14.575,262.975,14.725), (263.835,16.445,263.985,16.595), (211.325,16.475,211.475,16.625), (213.425,18.475,213.575,18.625), (215.525,18.475,215.675,18.625), (218.875,18.475,219.025,18.625), (221.725,18.475,221.875,18.625), (225.475,18.475,225.625,18.625), (227.625,18.475,227.775,18.625), (229.825,18.475,229.975,18.625), (231.075,18.475,231.225,18.625), (232.175,18.475,232.325,18.625), (234.525,18.475,234.675,18.625), (236.725,18.475,236.875,18.625), (239.825,18.475,239.975,18.625), (241.525,18.475,241.675,18.625), (243.325,18.475,243.475,18.625), (246.325,18.475,246.475,18.625), (248.025,18.475,248.175,18.625), (249.825,18.475,249.975,18.625), (252.825,18.475,252.975,18.625), (254.525,18.475,254.675,18.625), (256.325,18.475,256.475,18.625), (259.325,18.475,259.475,18.625), (261.025,18.475,261.175,18.625), (262.825,18.475,262.975,18.625)])
R(divide_by_120, met2, [(211.3,14.45,263.1,14.85), (263.76,16.3,264.05,16.7), (210.65,16.35,211.6,16.75), (211.3,18.35,263.1,18.75)])
A(divide_by_120, nsdm, 245.175, 14.975, 2.85, 0.75, 3, 1, 6.5, 0)
A(divide_by_120, nsdm, 248.475, 14.975, 2.3, 0.75, 3, 1, 6.5, 0)
A(divide_by_120, nsdm, 240.1, 17.025, 0.525, 0.75, 4, 1, 6.5, 0)
R(divide_by_120, nsdm, [(211.825,15.425,216.475,16.175), (216.975,15.425,219.825,16.175), (220.275,15.425,223.125,16.175), (223.875,15.425,228.4,16.175), (229.575,15.425,230.775,16.175), (231.375,15.425,235.475,16.175), (236.05,15.425,238.225,16.175), (238.675,15.425,241.525,16.175), (241.975,15.425,244.275,16.175), (213.7,17.025,214.225,17.775), (225.75,17.025,226.275,17.775)])
A(divide_by_120, psdm, 244.475, 14.975, 0.65, 0.75, 3, 1, 6.5, 0)
A(divide_by_120, psdm, 239.025, 17.025, 1.075, 0.75, 4, 1, 6.5, 0)
A(divide_by_120, psdm, 240.725, 17.025, 3.55, 0.75, 4, 1, 6.5, 0)
R(divide_by_120, psdm, [(223.175,14.975,223.825,15.725), (228.4,15.425,228.925,16.175), (235.525,15.425,236.05,16.175), (212.625,17.025,213.7,17.775), (214.725,17.025,216.475,17.775), (218.075,17.025,219.825,17.775), (220.275,17.025,222.575,17.775), (224.675,17.025,225.75,17.775), (226.775,17.025,228.525,17.775), (229.025,17.025,232.575,17.775), (233.725,17.025,235.475,17.775), (235.925,17.025,237.675,17.775)])
A(divide_by_120, npc, 244.365, 16.315, 0.37, 0.37, 3, 1, 6.5, 0)
A(divide_by_120, npc, 241.165, 16.615, 0.37, 0.37, 4, 1, 6.5, 0)
A(divide_by_120, npc, 248.465, 17.815, 0.37, 0.37, 3, 1, 6.5, 0)
R(divide_by_120, npc, [(211.515,15.015,211.885,15.385), (242.835,15.015,243.205,15.385), (221.815,15.065,222.185,15.435), (229.815,15.065,230.185,15.435), (216.465,15.115,216.835,15.485), (245.615,15.765,245.985,16.135), (248.515,15.765,248.885,16.135), (252.115,15.765,252.485,16.135), (255.015,15.765,255.385,16.135), (258.615,15.765,258.985,16.135), (261.515,15.765,261.885,16.135), (212.265,16.215,212.635,16.585), (215.165,16.215,215.535,16.585), (216.865,16.215,217.235,16.585), (219.765,16.215,220.135,16.585), (222.365,16.215,222.735,16.585), (224.315,16.215,224.685,16.585), (227.215,16.215,227.585,16.585), (228.265,16.215,228.635,16.375), (229.465,16.215,229.835,16.585), (235.665,16.215,236.035,16.47), (237.465,16.215,237.835,16.585), (239.115,16.215,239.485,16.585), (242.015,16.215,242.385,16.585), (231.165,16.265,231.535,16.635), (263.72,16.34,264.09,16.71), (228.265,16.375,228.735,16.585), (232.515,16.465,232.885,16.835), (235.64,16.47,236.035,16.585), (219.865,16.585,220.135,16.815), (228.465,16.585,228.735,16.815), (235.64,16.585,235.91,16.815), (217.865,16.615,218.235,16.985), (233.515,16.615,233.885,16.985), (219.865,16.815,220.235,17.185), (228.465,16.815,228.935,17.025), (235.515,16.815,235.91,16.93), (235.515,16.93,235.885,17.185), (228.565,17.025,228.935,17.185), (211.515,17.215,211.885,17.585), (238.465,17.215,238.835,17.585), (216.485,17.715,216.855,18.085), (214.915,17.815,215.285,18.185), (220.515,17.815,220.885,18.185), (221.165,17.815,221.535,18.185), (227.015,17.815,227.385,18.185), (235.815,17.865,236.185,18.235)])

lib.write_gds('divide_by_120.gds')
